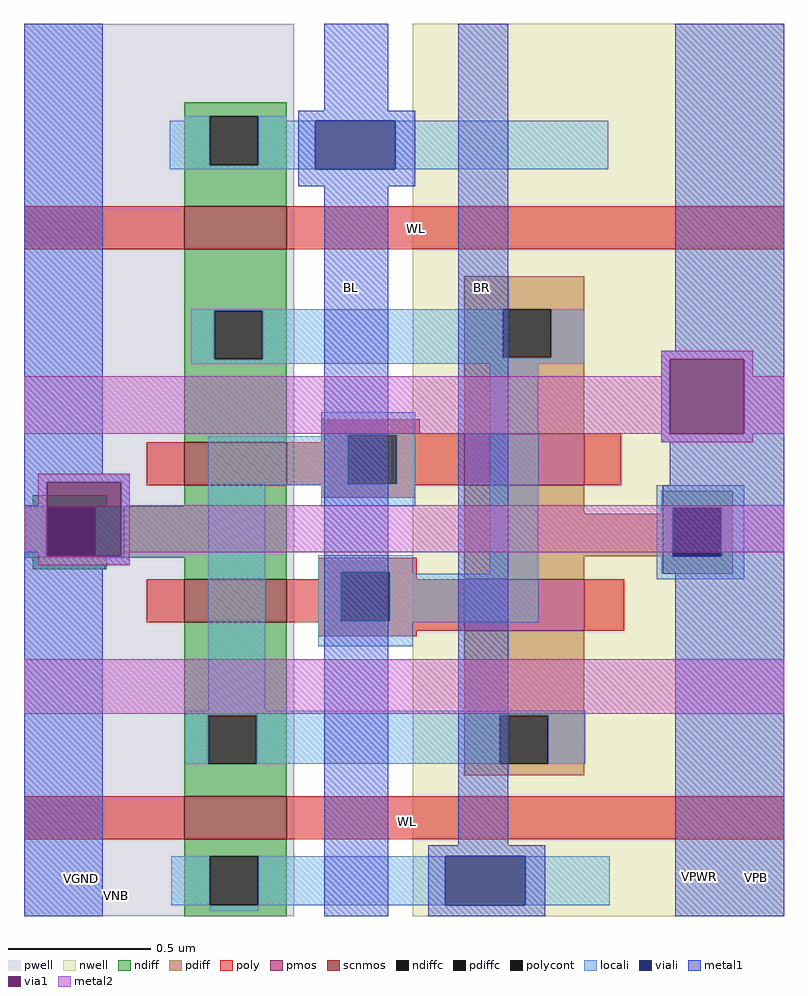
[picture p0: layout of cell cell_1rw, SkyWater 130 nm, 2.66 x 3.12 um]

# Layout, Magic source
magic
tech sky130A
magscale 1 2
<< nwell >>
rect 148 -365 408 260
<< pwell >>
rect -124 -365 65 260
<< scnmos >>
rect -12 102 60 132
rect -12 -63 60 -33
rect -12 -159 60 -129
rect -12 -311 60 -281
<< pmos >>
rect 184 -63 268 -27
rect 184 -165 268 -129
<< ndiff >>
rect -12 195 60 205
rect -12 161 6 195
rect 40 161 60 195
rect -12 132 60 161
rect -12 59 60 102
rect -12 25 9 59
rect 43 25 60 59
rect -12 -33 60 25
rect -118 -78 -66 -70
rect -12 -78 60 -63
rect -124 -79 60 -78
rect -124 -113 -108 -79
rect -74 -113 60 -79
rect -124 -114 60 -113
rect -118 -122 -66 -114
rect -12 -129 60 -114
rect -12 -224 60 -159
rect -12 -258 5 -224
rect 39 -258 60 -224
rect -12 -281 60 -258
rect -12 -323 60 -311
rect -12 -357 6 -323
rect 40 -357 60 -323
rect -12 -365 60 -357
<< pdiff >>
rect 184 60 268 83
rect 184 26 211 60
rect 245 26 268 60
rect 184 -27 268 26
rect 184 -83 268 -63
rect 322 -79 372 -67
rect 322 -83 330 -79
rect 184 -113 330 -83
rect 364 -113 372 -79
rect 184 -129 268 -113
rect 322 -125 372 -113
rect 184 -224 268 -165
rect 184 -258 209 -224
rect 243 -258 268 -224
rect 184 -266 268 -258
<< ndiffc >>
rect 6 161 40 195
rect 9 25 43 59
rect -108 -113 -74 -79
rect 5 -258 39 -224
rect 6 -357 40 -323
<< pdiffc >>
rect 211 26 245 60
rect 330 -113 364 -79
rect 209 -258 243 -224
<< poly >>
rect -124 102 -12 132
rect 60 102 408 132
rect 84 -27 153 -17
rect 84 -28 184 -27
rect 84 -33 103 -28
rect -38 -63 -12 -33
rect 60 -62 103 -33
rect 137 -62 184 -28
rect 60 -63 184 -62
rect 268 -63 294 -27
rect 84 -72 150 -63
rect 82 -124 151 -114
rect 82 -129 98 -124
rect -38 -159 -12 -129
rect 60 -158 98 -129
rect 132 -129 151 -124
rect 132 -158 184 -129
rect 60 -159 184 -158
rect 82 -165 184 -159
rect 268 -165 296 -129
rect 82 -169 151 -165
rect -124 -311 -12 -281
rect 60 -311 408 -281
<< polycont >>
rect 103 -62 137 -28
rect 98 -158 132 -124
<< locali >>
rect -12 192 6 195
rect -22 161 6 192
rect 40 192 60 195
rect 40 161 80 192
rect -22 158 80 161
rect 136 158 285 192
rect -7 59 211 60
rect -7 25 9 59
rect 43 26 211 59
rect 245 26 268 60
rect 43 25 268 26
rect -7 22 268 25
rect 84 -28 150 -12
rect 84 -29 103 -28
rect 5 -62 103 -29
rect 137 -62 150 -28
rect 5 -63 150 -62
rect -124 -79 -54 -78
rect -124 -113 -108 -79
rect -74 -113 -54 -79
rect -124 -114 -54 -113
rect 5 -221 45 -63
rect 84 -78 150 -63
rect 82 -124 148 -112
rect 82 -158 98 -124
rect 132 -125 148 -124
rect 202 -125 236 22
rect 132 -158 236 -125
rect 319 -79 380 -63
rect 319 -113 330 -79
rect 364 -113 380 -79
rect 319 -129 380 -113
rect 82 -159 236 -158
rect 82 -176 148 -159
rect -11 -224 269 -221
rect -11 -258 5 -224
rect 39 -258 209 -224
rect 243 -258 269 -224
rect -21 -357 6 -323
rect 40 -357 171 -323
rect 227 -357 286 -323
rect 6 -361 40 -357
<< viali >>
rect 80 158 136 192
rect -108 -113 -74 -79
rect 330 -113 364 -79
rect 171 -357 227 -323
<< metal1 >>
rect -124 -55 -69 260
rect 86 199 131 260
rect 68 192 150 199
rect 68 158 80 192
rect 136 158 150 192
rect 68 146 150 158
rect -124 -61 -50 -55
rect -124 -113 -108 -61
rect -56 -113 -50 -61
rect -124 -119 -50 -113
rect -124 -122 -67 -119
rect -124 -365 -69 -122
rect 86 -365 131 146
rect 180 -315 215 260
rect 332 31 408 260
rect 322 25 408 31
rect 322 -27 328 25
rect 380 -27 408 25
rect 322 -33 408 -27
rect 328 -63 408 -33
rect 323 -79 408 -63
rect 323 -113 330 -79
rect 364 -113 408 -79
rect 323 -125 408 -113
rect 159 -323 241 -315
rect 159 -357 171 -323
rect 227 -357 241 -323
rect 159 -365 241 -357
rect 332 -365 408 -125
<< via1 >>
rect -108 -79 -56 -61
rect -108 -113 -74 -79
rect -74 -113 -56 -79
rect 328 -27 380 25
<< metal2 >>
rect 322 25 386 31
rect 322 13 328 25
rect -124 -27 328 13
rect 380 13 386 25
rect 380 -27 408 13
rect 322 -33 386 -27
rect -114 -61 -50 -55
rect -114 -77 -108 -61
rect -124 -110 -108 -77
rect -114 -113 -108 -110
rect -56 -77 -50 -61
rect -56 -110 408 -77
rect -56 -113 -50 -110
rect -114 -119 -50 -113
rect -124 -223 408 -185
<< labels >>
rlabel pwell -65 -357 -53 -343 1 VNB
port 1 n
rlabel metal1 -93 -348 -74 -329 1 VGND
port 2 n
rlabel metal1 96 66 115 85 1 BL
port 3 n
rlabel metal1 187 66 206 85 1 BR
port 4 n
rlabel poly 141 107 160 126 1 WL
port 5 n
rlabel poly 135 -308 154 -289 1 WL
port 5 n
rlabel nwell 377 -350 400 -326 1 VPB
port 6 n
rlabel metal1 337 -349 360 -325 1 VPWR
port 7 n
<< end >>
